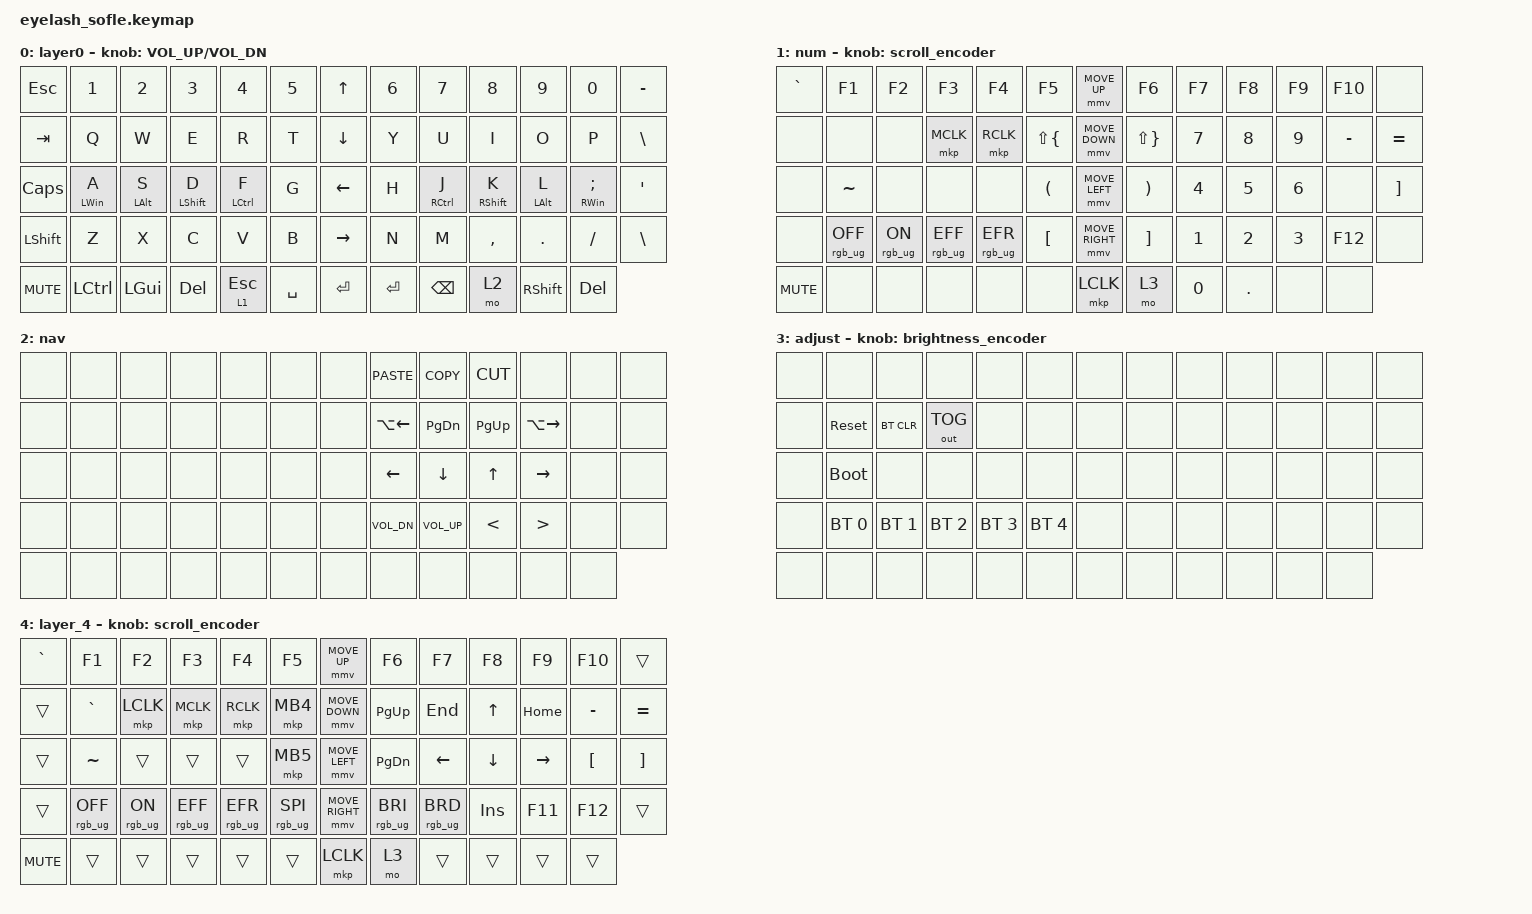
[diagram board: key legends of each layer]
//vim: set commentstring=//%s:

#define ZMK_POINTING_DEFAULT_MOVE_VAL 1200  // 600
#define ZMK_POINTING_DEFAULT_SCRL_VAL 35    // 10

#include <input/processors.dtsi>
#include <zephyr/dt-bindings/input/input-event-codes.h>
#include <behaviors.dtsi>
#include <dt-bindings/zmk/bt.h>
#include <dt-bindings/zmk/keys.h>
#include <dt-bindings/zmk/outputs.h>
#include <dt-bindings/zmk/pointing.h>
#include <dt-bindings/zmk/pointing.h>
#include <dt-bindings/zmk/pointing.h>
#include <dt-bindings/zmk/rgb.h>

/ {
    zip_scroll_scaler: zip_scroll_scaler {
        compatible = "zmk,input-processor-scaler";
        #input-processor-cells = <2>;
        type = <INPUT_EV_REL>;
        codes = <INPUT_REL_WHEEL INPUT_REL_HWHEEL>;
        track-remainders;
    };
};

&mmv_input_listener { input-processors = <&zip_xy_scaler 2 1>; };

&msc_input_listener { input-processors = <&zip_scroll_scaler 2 1>; };

&msc {
    acceleration-exponent = <0>;      // 0
    time-to-max-speed-ms = <0>;       // 300
    delay-ms = <0>;                   // 0
};

&mmv {
    time-to-max-speed-ms = <400>;
    acceleration-exponent = <1>;
};

/ {
    scroll_encoder: scroll_encoder {
        compatible = "zmk,behavior-sensor-rotate";
        #sensor-binding-cells = <0>;
        bindings = <&msc SCRL_DOWN>, <&msc SCRL_UP>;

        tap-ms = <30>;
    };

    behaviors {
        hmr: hmr {
            compatible = "zmk,behavior-hold-tap";
            bindings = <&kp>, <&kp>;

            #binding-cells = <2>;
            tapping-term-ms = <280>;
            quick-tap-ms = <200>;
            flavor = "balanced";
            hold-trigger-key-positions = <0 1 2 3 13 4 14 0 1 2 3 4 5 13 14 15 16 17 18 26 27 28 29 30 31 39 40 41 42 43 44 53 54 55 56 57 59 60>;
            require-prior-idle-ms = <150>;
            hold-trigger-on-release;
        };

        hml: hml {
            compatible = "zmk,behavior-hold-tap";
            bindings = <&kp>, <&kp>;

            #binding-cells = <2>;
            tapping-term-ms = <280>;
            quick-tap-ms = <200>;
            flavor = "balanced";
            hold-trigger-key-positions = <33 34 35 37 36 7 8 9 7 8 9 10 11 12 20 21 22 23 24 25 33 34 35 36 37 38 46 47 48 49 50 51 60 61 62 63 59 57 56>;
            require-prior-idle-ms = <150>;
            hold-trigger-on-release;
        };

        brightness_encoder: brightness_encoder {
            compatible = "zmk,behavior-sensor-rotate";
            #sensor-binding-cells = <0>;
            bindings = <&rgb_ug RGB_BRI>, <&rgb_ug RGB_BRD>;

            tap-ms = <30>;
            label = "BRIGHTNESS_ENCODER";
        };
    };

    combos {
        compatible = "zmk,combos";

        minus {
            bindings = <&kp MINUS>;
            key-positions = <34 47>;
            layers = <0>;
        };
    };

    keymap {
        compatible = "zmk,keymap";

        layer0 {
            bindings = <
&kp ESC     &kp N1           &kp N2           &kp N3             &kp N4        &kp N5       &kp UP_ARROW     &kp N6     &kp N7         &kp N8              &kp N9           &kp N0               &kp MINUS
&kp TAB     &kp Q            &kp W            &kp E              &kp R         &kp T        &kp DOWN_ARROW   &kp Y      &kp U          &kp I               &kp O            &kp P                &kp BSLH
&kp CAPS    &hml LEFT_WIN A  &hml LEFT_ALT S  &hml LEFT_SHIFT D  &hml LCTRL F  &kp G        &kp LEFT_ARROW   &kp H      &hmr RCTRL J   &hmr RIGHT_SHIFT K  &hmr LALT L      &hmr RIGHT_WIN SEMI  &kp APOS
&kp LSHFT   &kp Z            &kp X            &kp C              &kp V         &kp B        &kp RIGHT_ARROW  &kp N      &kp M          &kp COMMA           &kp DOT          &kp FSLH             &kp BACKSLASH
&kp C_MUTE  &kp LCTRL        &kp LEFT_GUI     &kp DELETE         &lt 1 ESCAPE  &kp SPACE    &kp ENTER        &kp ENTER  &kp BACKSPACE  &mo 2               &kp RIGHT_SHIFT  &kp DELETE
            >;

            sensor-bindings = <&inc_dec_kp C_VOLUME_UP C_VOL_DN>;
        };

        num {
            bindings = <
&kp GRAVE   &kp F1           &kp F2          &kp F3           &kp F4           &kp F5                  &mmv MOVE_UP     &kp F6                 &kp F7  &kp F8   &kp F9  &kp F10    &none
&none       &none            &none           &mkp MCLK        &mkp RCLK        &kp LS(LBRC)            &mmv MOVE_DOWN   &kp LS(RBRC)           &kp N7  &kp N8   &kp N9  &kp MINUS  &kp EQUAL
&none       &kp TILDE        &none           &none            &none            &kp LEFT_PARENTHESIS    &mmv MOVE_LEFT   &kp RIGHT_PARENTHESIS  &kp N4  &kp N5   &kp N6  &none      &kp RIGHT_BRACKET
&none       &rgb_ug RGB_OFF  &rgb_ug RGB_ON  &rgb_ug RGB_EFF  &rgb_ug RGB_EFR  &kp LBKT                &mmv MOVE_RIGHT  &kp RBKT               &kp N1  &kp N2   &kp N3  &kp F12    &none
&kp C_MUTE  &none            &none           &none            &none            &none                   &mkp LCLK        &mo 3                  &kp N0  &kp DOT  &none   &none
            >;

            sensor-bindings = <&scroll_encoder>;
        };

        nav {
            bindings = <
&none  &none  &none  &none  &none  &none    &none  &kp K_PASTE   &kp K_COPY       &kp K_CUT      &none             &none  &none
&none  &none  &none  &none  &none  &none    &none  &kp LA(LEFT)  &kp PG_DN        &kp PG_UP      &kp LA(RIGHT)     &none  &none
&none  &none  &none  &none  &none  &none    &none  &kp LEFT      &kp DOWN         &kp UP         &kp RIGHT         &none  &none
&none  &none  &none  &none  &none  &none    &none  &kp C_VOL_DN  &kp K_VOLUME_UP  &kp LESS_THAN  &kp GREATER_THAN  &none  &none
&none  &none  &none  &none  &none  &none    &none  &none         &none            &none          &none             &none
            >;
        };

        adjust {
            bindings = <
&none  &none         &none         &none         &none         &none           &none  &none  &none  &none  &none  &none  &none
&none  &sys_reset    &bt BT_CLR    &out OUT_TOG  &none         &none           &none  &none  &none  &none  &none  &none  &none
&none  &bootloader   &none         &none         &none         &none           &none  &none  &none  &none  &none  &none  &none
&none  &bt BT_SEL 0  &bt BT_SEL 1  &bt BT_SEL 2  &bt BT_SEL 3  &bt BT_SEL 4    &none  &none  &none  &none  &none  &none  &none
&none  &none         &none         &none         &none         &none           &none  &none  &none  &none  &none  &none
            >;

            sensor-bindings = <&brightness_encoder>;
        };

        layer_4 {
            bindings = <
&kp GRAVE   &kp F1           &kp F2          &kp F3           &kp F4           &kp F5             &mmv MOVE_UP     &kp F6           &kp F7           &kp F8      &kp F9     &kp F10           &trans
&trans      &kp GRAVE        &mkp LCLK       &mkp MCLK        &mkp RCLK        &mkp MB4           &mmv MOVE_DOWN   &kp PG_UP        &kp END          &kp UP      &kp HOME   &kp MINUS         &kp EQUAL
&trans      &kp TILDE        &trans          &trans           &trans           &mkp MB5           &mmv MOVE_LEFT   &kp PG_DN        &kp LEFT         &kp DOWN    &kp RIGHT  &kp LEFT_BRACKET  &kp RIGHT_BRACKET
&trans      &rgb_ug RGB_OFF  &rgb_ug RGB_ON  &rgb_ug RGB_EFF  &rgb_ug RGB_EFR  &rgb_ug RGB_SPI    &mmv MOVE_RIGHT  &rgb_ug RGB_BRI  &rgb_ug RGB_BRD  &kp INSERT  &kp F11    &kp F12           &trans
&kp C_MUTE  &trans           &trans          &trans           &trans           &trans             &mkp LCLK        &mo 3            &trans           &trans      &trans     &trans
            >;

            sensor-bindings = <&scroll_encoder>;
        };
    };
};
